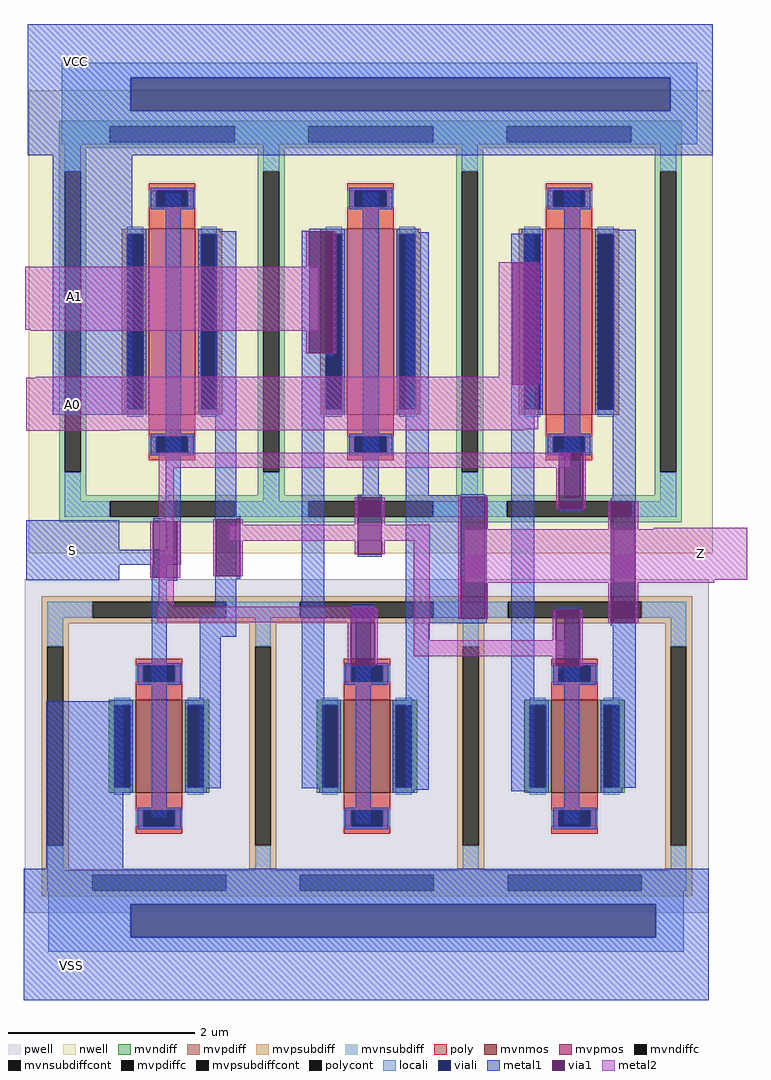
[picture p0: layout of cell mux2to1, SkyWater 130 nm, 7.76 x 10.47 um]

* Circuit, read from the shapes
.subckt mux2to1 A1 A0 Z VCC VSS S
XM1 n1 S VSS VSS sky130_fd_pr__nfet_g5v0d10v5 w=1 l=0.5
XM2 Z S A1 VSS sky130_fd_pr__nfet_g5v0d10v5 w=1 l=0.5
XM3 Z n1 A0 VSS sky130_fd_pr__nfet_g5v0d10v5 w=1 l=0.5
XM4 n1 S VCC VCC sky130_fd_pr__pfet_g5v0d10v5 w=2 l=0.5
XM5 Z n1 A1 VCC sky130_fd_pr__pfet_g5v0d10v5 w=2 l=0.5
XM6 Z S A0 VCC sky130_fd_pr__pfet_g5v0d10v5 w=2 l=0.5
.ends

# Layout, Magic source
magic
tech sky130A
magscale 1 2
<< locali >>
rect 485 219 1849 251
rect 485 148 633 219
rect 1791 148 1849 219
rect 485 76 1849 148
rect 456 -1555 1820 -1482
rect 456 -1626 633 -1555
rect 1760 -1626 1820 -1555
rect 456 -1657 1820 -1626
<< viali >>
rect 633 148 1791 219
rect 633 -1626 1760 -1555
<< metal1 >>
rect 412 219 1882 334
rect 412 148 633 219
rect 1791 148 1882 219
rect 412 52 1882 148
rect 466 -505 636 52
rect 409 -795 609 -731
rect 708 -795 740 -29
rect 409 -827 740 -795
rect 409 -860 609 -827
rect 452 -1479 617 -1120
rect 678 -1369 710 -827
rect 815 -936 860 -111
rect 781 -981 860 -936
rect 781 -1307 826 -981
rect 1000 -1307 1049 -110
rect 1131 -689 1165 -28
rect 1224 -678 1273 -113
rect 1116 -923 1124 -920
rect 1116 -1382 1148 -923
rect 1224 -952 1397 -678
rect 1224 -1310 1273 -952
rect 1450 -1313 1499 -116
rect 1564 -682 1598 -21
rect 1564 -1382 1596 -923
rect 1668 -1305 1717 -108
rect 404 -1555 1874 -1479
rect 404 -1626 633 -1555
rect 1760 -1626 1874 -1555
rect 404 -1761 1874 -1626
<< metal2 >>
rect 407 -322 1037 -187
rect 419 -324 1037 -322
rect 1423 -423 1508 -177
rect 429 -425 1508 -423
rect 409 -536 1508 -425
rect 409 -538 1478 -536
rect 409 -539 609 -538
rect 693 -619 1578 -586
rect 693 -917 726 -619
rect 844 -775 1275 -741
rect 1756 -751 1956 -747
rect 690 -950 1158 -917
rect 1241 -989 1275 -775
rect 1348 -859 1956 -751
rect 1348 -865 1886 -859
rect 1241 -1023 1566 -989
use por_via_2cut  por_via_2cut_0
transform 0 1 9471 -1 0 15171
box 16088 -7932 16222 -7868
use por_via_2cut  por_via_2cut_1
transform 0 1 8742 -1 0 15365
box 16088 -7932 16222 -7868
use por_via_2cut  por_via_2cut_2
transform 0 1 9031 -1 0 15175
box 16088 -7932 16222 -7868
use por_via_2cut  por_via_2cut_3
transform 0 1 8607 -1 0 15361
box 16088 -7932 16222 -7868
use por_via_2cut  por_via_2cut_5
transform 0 1 9046 -1 0 15412
box 16088 -7932 16222 -7868
use por_via_2cut  por_via_2cut_6
transform 0 1 9478 -1 0 15508
box 16088 -7932 16222 -7868
use por_via_4cut  por_via_4cut_0
transform 0 1 8942 -1 0 15843
box 15948 -7932 16222 -7868
use por_via_4cut  por_via_4cut_3
transform 0 1 9378 -1 0 15776
box 15948 -7932 16222 -7868
use por_via_4cut  por_via_4cut_4
transform 0 1 9268 -1 0 15273
box 15948 -7932 16222 -7868
use por_via_4cut  por_via_4cut_5
transform 0 1 9590 -1 0 15264
box 15948 -7932 16222 -7868
use sky130_fd_pr__pfet_g5v0d10v5_KLD8Y6  XM1 paramcells
transform 1 0 1574 0 1 -305
box -308 -497 308 497
use sky130_fd_pr__nfet_g5v0d10v5_UNEQ2N  XM2 paramcells
transform 1 0 1586 0 1 -1216
box -288 -358 288 358
use sky130_fd_pr__pfet_g5v0d10v5_KLD8Y6  XM3
transform 1 0 1148 0 1 -305
box -308 -497 308 497
use sky130_fd_pr__nfet_g5v0d10v5_UNEQ2N  XM4
transform 1 0 1140 0 1 -1216
box -288 -358 288 358
use sky130_fd_pr__nfet_g5v0d10v5_UNEQ2N  XM12
transform 1 0 694 0 1 -1216
box -288 -358 288 358
use sky130_fd_pr__pfet_g5v0d10v5_KLD8Y6  XM13
transform 1 0 722 0 1 -305
box -308 -497 308 497
<< labels >>
flabel metal1 409 -860 609 -731 0 FreeSans 256 0 0 0 S
port 5 nsew
flabel metal2 1756 -859 1956 -747 0 FreeSans 256 0 0 0 Z
port 2 nsew
flabel metal2 412 -300 612 -203 0 FreeSans 256 0 0 0 A1
port 0 nsew
flabel metal2 409 -539 609 -425 0 FreeSans 256 0 0 0 A0
port 1 nsew
flabel metal1 406 -1760 606 -1614 0 FreeSans 256 0 0 0 VSS
port 4 nsew
flabel metal1 415 180 615 327 0 FreeSans 256 0 0 0 VCC
port 3 nsew
<< end >>

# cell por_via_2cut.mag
magic
tech sky130A
<< metal1 >>
rect 8044 -3963 8047 -3937
rect 8108 -3963 8111 -3937
<< via1 >>
rect 8047 -3963 8108 -3937
<< metal2 >>
rect 8047 -3937 8108 -3934
rect 8047 -3966 8108 -3963
<< end >>

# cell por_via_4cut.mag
magic
tech sky130A
<< metal1 >>
rect 7974 -3963 7977 -3937
rect 8108 -3963 8111 -3937
<< via1 >>
rect 7977 -3963 8108 -3937
<< metal2 >>
rect 7977 -3937 8108 -3934
rect 7977 -3966 8108 -3963
<< end >>

# cell sky130_fd_pr__pfet_g5v0d10v5_KLD8Y6: kit device sky130_fd_pr__pfet_g5v0d10v5, w 2.0 l 0.5 m 1 nf 1 diffcov 100 polycov 100 guard 1 glc 1 grc 1 gtc 1 gbc 1 tbcov 100 rlcov 100 topc 1 botc 1 poverlap 0 doverlap 1 lmin 0.50 wmin 0.42 compatible {sky130_fd_pr__pfet_01v8 sky130_fd_pr__pfet_01v8_lvt sky130_fd_pr__pfet_01v8_hvt sky130_fd_pr__pfet_g5v0d10v5} full_metal 1 viasrc 100 viadrn 100 viagate 100 viagb 0 viagr 0 viagl 0 viagt 0

# cell sky130_fd_pr__nfet_g5v0d10v5_UNEQ2N: kit device sky130_fd_pr__nfet_g5v0d10v5, w 1.0 l 0.5 m 1 nf 1 diffcov 100 polycov 100 guard 1 glc 1 grc 1 gtc 1 gbc 1 tbcov 100 rlcov 100 topc 1 botc 1 poverlap 0 doverlap 1 lmin 0.50 wmin 0.42 compatible {sky130_fd_pr__nfet_01v8 sky130_fd_pr__nfet_01v8_lvt sky130_fd_bs_flash__special_sonosfet_star sky130_fd_pr__nfet_g5v0d10v5 sky130_fd_pr__nfet_05v0_nvt sky130_fd_pr__nfet_03v3_nvt} full_metal 1 viasrc 100 viadrn 100 viagate 100 viagb 0 viagr 0 viagl 0 viagt 0
